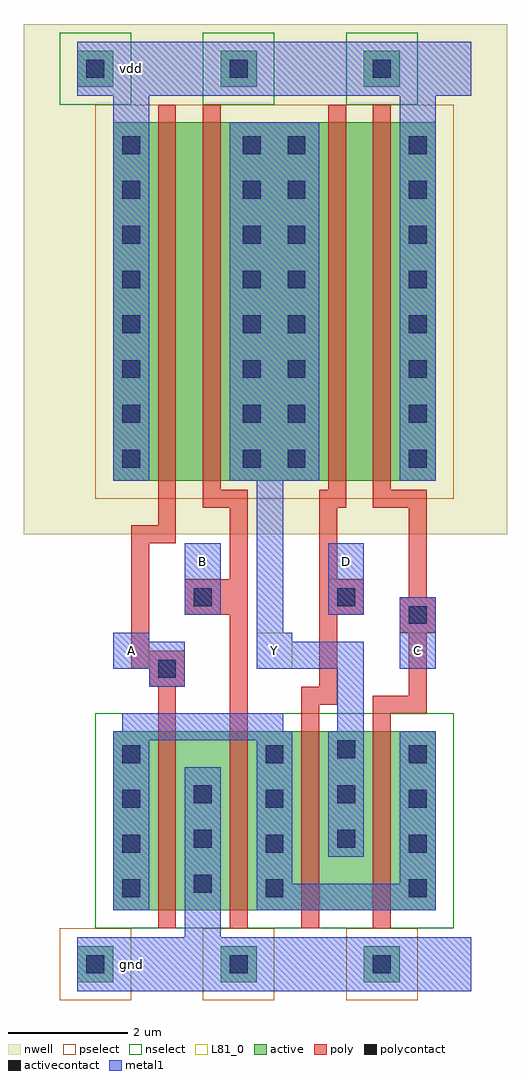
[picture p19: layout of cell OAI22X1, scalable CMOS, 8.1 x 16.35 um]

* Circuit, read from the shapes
.subckt OAI22X1 A B C D Y gnd vdd
M1 gnd A n1 gnd nfet w=3u l=0.3u
M2 n1 B gnd gnd nfet w=3u l=0.3u
M3 Y D n1 gnd nfet w=3u l=0.3u
M4 n1 C Y gnd nfet w=3u l=0.3u
M5 n2 A vdd vdd pfet w=6u l=0.3u
M6 Y B n2 vdd pfet w=6u l=0.3u
M7 n3 D Y vdd pfet w=6u l=0.3u
M8 vdd C n3 vdd pfet w=6u l=0.3u
.ends

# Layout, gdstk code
import gdstk
lib = gdstk.Library(unit=1e-6, precision=1e-09)
def R(c, l, rs):  # rectangles x0, y0, x1, y1
    for r in rs: c.add(gdstk.rectangle(r[:2], r[2:], *l))
def A(c, l, x, y, w, h, nx, ny, dx, dy):  # array of equal rectangles
    R(c, l, [(x+i*dx, y+j*dy, x+i*dx+w, y+j*dy+h) for i in range(nx) for j in range(ny)])
nwell = (42, 0)
active = (43, 0)
pselect = (44, 0)
nselect = (45, 0)
poly = (46, 0)
polycontact = (47, 0)
activecontact = (48, 0)
metal1 = (49, 0)
L81_0 = (81, 0)

oai22x1 = lib.new_cell('OAI22X1')
R(oai22x1, nwell, [(-1.2,7.2,6.9,15.75)])
A(oai22x1, active, -0.3, -0.3, 0.6, 0.6, 3, 2, 2.4, 15)
R(oai22x1, active, [(0.3,0.9,5.7,3.9), (0.3,8.1,5.7,14.1)])
A(oai22x1, pselect, -0.6, -0.6, 1.2, 1.2, 3, 1, 2.4, 0)
R(oai22x1, pselect, [(0,7.8,6,14.4)])
A(oai22x1, nselect, -0.6, 14.4, 1.2, 1.2, 3, 1, 2.4, 0)
R(oai22x1, nselect, [(0,0.6,6,4.2)])
R(oai22x1, poly, [(1.05,0.6,1.35,4.65), (2.25,0.6,2.55,5.85), (3.45,0.6,3.75,4.35), (4.65,0.6,4.95,4.2), (4.65,4.2,5.55,4.5), (3.45,4.35,4.05,4.65), (5.25,4.5,5.55,5.55), (0.9,4.65,1.5,4.95), (3.75,4.65,4.05,5.85), (0.6,4.95,1.5,5.25), (0.6,5.25,0.9,7.05), (5.1,5.55,5.7,6.15), (1.5,5.85,2.55,6.45), (3.75,5.85,4.5,6.45), (5.25,6.15,5.55,7.65), (2.25,6.45,2.55,7.65), (3.75,6.45,4.05,7.65), (0.6,7.05,1.35,7.35), (1.05,7.35,1.35,14.4), (1.8,7.65,2.55,7.95), (3.75,7.65,4.2,7.95), (4.65,7.65,5.55,7.95), (1.8,7.95,2.1,14.4), (3.9,7.95,4.2,14.4), (4.65,7.95,4.95,14.4)])
R(oai22x1, polycontact, [(1.05,4.8,1.35,5.1), (5.25,5.7,5.55,6), (1.65,6,1.95,6.3), (4.05,6,4.35,6.3)])
A(oai22x1, activecontact, -0.15, -0.15, 0.3, 0.3, 3, 2, 2.4, 15)
A(oai22x1, activecontact, 0.45, 1.12, 0.3, 0.3, 3, 4, 2.4, 0.75)
A(oai22x1, activecontact, 1.65, 1.2, 0.3, 0.3, 1, 3, 0, 0.75)
A(oai22x1, activecontact, 4.05, 1.95, 0.3, 0.3, 1, 3, 0, 0.75)
A(oai22x1, activecontact, 0.45, 8.32, 0.3, 0.3, 1, 8, 0, 0.75)
A(oai22x1, activecontact, 2.47, 8.32, 0.3, 0.3, 1, 8, 0, 0.75)
A(oai22x1, activecontact, 3.22, 8.32, 0.3, 0.3, 1, 8, 0, 0.75)
A(oai22x1, activecontact, 5.25, 8.32, 0.3, 0.3, 1, 8, 0, 0.75)
R(oai22x1, metal1, [(-0.3,-0.45,6.3,0.45), (1.5,0.45,2.1,3.3), (0.3,0.9,0.9,3.75), (2.7,0.9,5.7,1.35), (2.7,1.35,3.3,3.75), (5.1,1.35,5.7,3.9), (3.9,1.8,4.5,3.9), (0.3,3.75,3.3,3.9), (0.45,3.9,3.15,4.2), (4.05,3.9,4.5,4.95), (0.9,4.65,1.5,4.95), (0.3,4.95,1.5,5.4), (2.7,4.95,4.5,5.4), (5.1,4.95,5.7,6.15), (0.3,5.4,0.9,5.55), (2.7,5.4,3.3,5.55), (2.7,5.55,3.15,8.1), (1.5,5.85,2.1,7.05), (3.9,5.85,4.5,7.05), (0.3,8.1,0.9,14.55), (2.25,8.1,3.75,14.1), (5.1,8.1,5.7,14.55), (-0.3,14.55,6.3,15.45)])
A(oai22x1, L81_0, 0.3, 4.95, 0.6, 0.6, 3, 1, 2.4, 0)
R(oai22x1, L81_0, [(1.5,6.45,2.1,7.05), (3.9,6.45,4.5,7.05)])
oai22x1.add(gdstk.Label('gnd', (0.6,0), layer=109, texttype=0))
oai22x1.add(gdstk.Label('vdd', (0.6,15), layer=109, texttype=0))
oai22x1.add(gdstk.Label('D', (4.2,6.75), layer=109, texttype=0))
oai22x1.add(gdstk.Label('C', (5.4,5.25), layer=109, texttype=0))
oai22x1.add(gdstk.Label('A', (0.6,5.25), layer=109, texttype=0))
oai22x1.add(gdstk.Label('B', (1.8,6.75), layer=109, texttype=0))
oai22x1.add(gdstk.Label('Y', (3,5.25), layer=109, texttype=0))

lib.write_gds('OAI22X1.gds')
